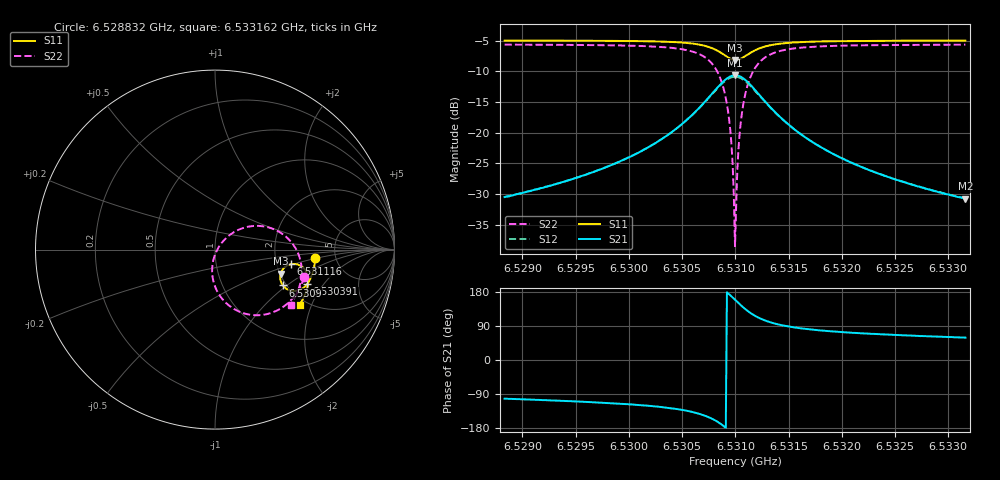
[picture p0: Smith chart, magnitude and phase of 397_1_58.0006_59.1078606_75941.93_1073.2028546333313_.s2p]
#  HZ  S  RI  R  50.00
! Rohde & Schwarz Vector Network Analyzer
! Rohde-Schwarz,ZNB20-2Port,1311601062101988,3.16
! Created: UTC 3/21/2024, 1:08:04 AM
! freq[Hz]  re:S11  im:S11  re:S21  im:S21  re:S12  im:S12  re:S22  im:S22
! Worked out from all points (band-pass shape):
!   401 points, 6.528832 GHz to 6.533162 GHz, reference 50 ohm
!   highest |S21| = -10.66 dB at 6.530997 GHz (marker M1); lowest = -30.8 dB at 6.533162 GHz (marker M2)
!   |S21| within 3 dB of the highest: 6.530781 GHz to 6.531215 GHz (433.8 kHz wide, 0.00664 % of centre)
!   lowest |S11| = -8.2 dB at 6.530997 GHz (marker M3), VSWR 2.28, Z = 101 - j31.9 ohm
!   |S11| at or under -10 dB: nowhere
!   |S22| runs from -38.5 to -5.7 dB; largest |S21 - S12| = 0.011
!   S11 on the Smith chart (normalised r, x): 6.528832 GHz: 3.48, -0.50; 6.530391 GHz: 2.56, -1.40; 6.5309 GHz: 1.92, -0.94; 6.531116 GHz: 2.41, -0.48; 6.533162 GHz: 1.83, -1.65
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6.528832e9  0.559 -0.0493  -0.00621 -0.0291  -0.00684 -0.029  0.4977 -0.1522
6.5295572e9  0.5495 -0.1091  -0.0152 -0.0416  -0.0162 -0.0413  0.4688 -0.2188
6.5302825e9  0.5223 -0.1794  -0.0472 -0.0714  -0.0491 -0.0703  0.3912 -0.3109
6.5303907e9  0.5135 -0.1921  -0.0596 -0.0791  -0.0618 -0.0774  0.3648 -0.3291
6.5307371e9  0.4469 -0.2302  -0.1616 -0.0953  -0.1636 -0.0888  0.1723 -0.3582
6.5308346e9  0.4065 -0.2229  -0.2243 -0.0673  -0.2233 -0.0582  0.0663 -0.3017
6.5308995e9  0.3781 -0.1995  -0.2661 -0.0172  -0.2612 -0.00801  0.00244 -0.2111
6.5309428e9  0.3655 -0.1733  -0.2819 0.0331  -0.274 0.0408  -0.0161 -0.1248
6.5309645e9  0.3632 -0.1578  -0.283 0.0617  -0.2738 0.0679  -0.0131 -0.0772
6.5309753e9  0.3633 -0.1498  -0.2813 0.0763  -0.2718 0.0817  -0.00798 -0.0536
6.5309861e9  0.3642 -0.1417  -0.2781 0.0908  -0.2684 0.0954  -0.000753 -0.0301
6.5309969e9  0.3661 -0.1338  -0.2736 0.1052  -0.2637 0.1086  0.00917 -0.00751
6.5310186e9  0.3721 -0.1188  -0.2604 0.1321  -0.2505 0.1338  0.0349 0.0345
6.5310294e9  0.3764 -0.1119  -0.252 0.1441  -0.2422 0.1449  0.0506 0.0531
6.5310511e9  0.3868 -0.1  -0.2324 0.1652  -0.2234 0.1645  0.0864 0.0845
6.5310835e9  0.4051 -0.0874  -0.1982 0.1878  -0.1909 0.1856  0.1459 0.1166
6.531116e9  0.4247 -0.081  -0.1635 0.1995  -0.1576 0.1966  0.2061 0.1308
6.5311918e9  0.4638 -0.0842  -0.0942 0.1976  -0.0914 0.1951  0.3223 0.1157
6.5313e9  0.4972 -0.107  -0.0361 0.1674  -0.0346 0.166  0.4172 0.0507
6.5317222e9  0.5192 -0.1832  0.0145 0.0826  0.0154 0.0824  0.4832 -0.1284
6.5324475e9  0.4993 -0.2553  0.017 0.0396  0.0176 0.0395  0.4557 -0.2443
6.5331619e9  0.4717 -0.3079  0.0148 0.0248  0.0154 0.0247  0.4207 -0.3062
